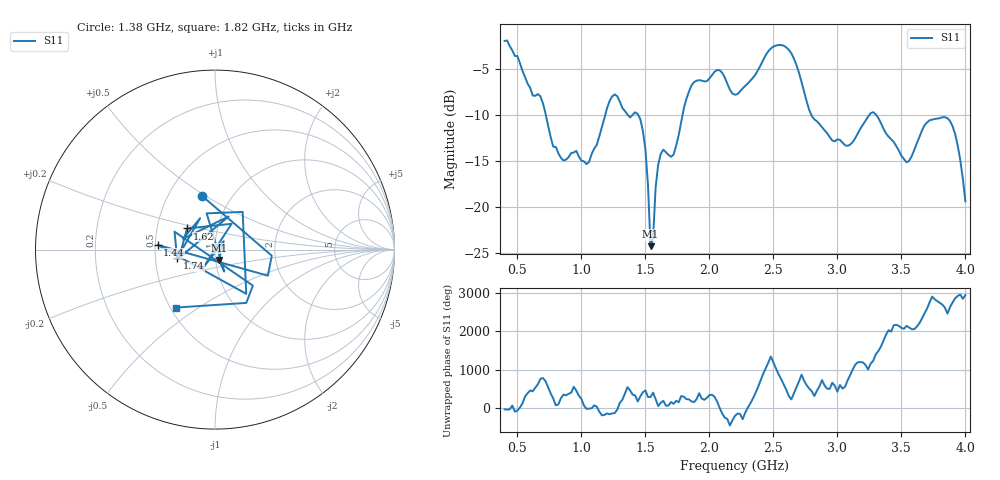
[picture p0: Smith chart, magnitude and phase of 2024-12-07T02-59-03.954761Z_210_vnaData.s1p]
!Created with skrf (http://scikit-rf.org).
# Hz S RI R 50.0
!freq ReS11 ImS11
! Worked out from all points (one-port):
!   181 points, 400 MHz to 4 GHz, reference 50 ohm
!   lowest |S11| = -24.2 dB at 1.54 GHz (marker M1), VSWR 1.13, Z = 51.9 - j5.98 ohm
!   |S11| at or under -10 dB: 722.7 MHz to 1.186 GHz (462.9 MHz wide, 48.5 % of centre); 2.798 GHz to 3.247 GHz (449.9 MHz wide, 14.9 % of centre); 3.305 GHz to end of sweep (the widest 3 of 5)
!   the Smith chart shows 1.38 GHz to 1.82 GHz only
!   S11 on the Smith chart (normalised r, x): 1.38 GHz: 0.73, +0.48; 1.44 GHz: 0.51, +0.03; 1.62 GHz: 0.71, +0.17; 1.74 GHz: 0.65, -0.06; 1.82 GHz: 0.54, -0.41
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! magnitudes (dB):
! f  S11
! 400 MHz  -1.9
! 680 MHz  -7.9
! 860 MHz  -14.9
! 1.06 GHz  -15.0
! 1.22 GHz  -8.4
! 1.3 GHz  -8.5
! 1.38 GHz  -10.2
! 1.44 GHz  -9.9
! 1.5 GHz  -13.7
! 1.54 GHz  -24.2
! 1.56 GHz  -23.4
! 1.58 GHz  -17.8
! 1.62 GHz  -14.2
! 1.74 GHz  -13.3
! 1.76 GHz  -12.2
! 1.82 GHz  -8.2
! 2.06 GHz  -5.1
! 2.2 GHz  -7.8
! 2.5 GHz  -2.5
! 2.66 GHz  -3.8
! 2.8 GHz  -10.1
! 3.1 GHz  -13.2
! 3.28 GHz  -9.7
! 3.56 GHz  -15.0
! 3.7 GHz  -10.8
! 3.86 GHz  -10.3
! 3.94 GHz  -13.3
! 4 GHz  -19.3
